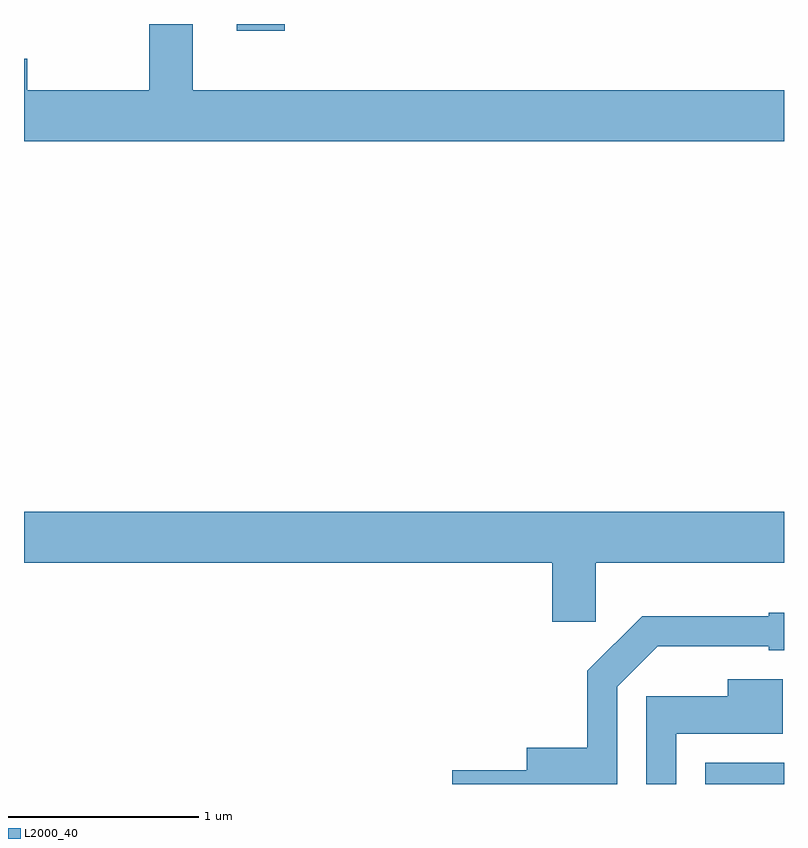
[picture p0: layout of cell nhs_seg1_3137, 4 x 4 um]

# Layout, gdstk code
import gdstk
lib = gdstk.Library(unit=1e-6, precision=1e-09)
def R(c, l, rs):  # rectangles x0, y0, x1, y1
    for r in rs: c.add(gdstk.rectangle(r[:2], r[2:], *l))
def P(c, l, *ps):  # polygons
    for p in ps: c.add(gdstk.Polygon(p, *l))
L2000_40 = (2000, 40)

nhs_seg1_3137 = lib.new_cell('nhs_seg1_3137')
R(nhs_seg1_3137, L2000_40, [(283.196,931.712,283.611,931.824), (280.731,935.676,280.984,935.712)])
P(nhs_seg1_3137, L2000_40, [(283.611,935.364),(280.499,935.364),(280.499,935.712),(280.271,935.712),(280.271,935.364),(279.629,935.364),(279.629,935.529),(279.611,935.529),(279.611,935.096),(283.611,935.096)],
  [(282.619,932.876),(283.611,932.876),(283.611,933.144),(279.611,933.144),(279.611,932.876),(282.391,932.876),(282.391,932.566),(282.619,932.566)],
  [(282.734,932.224),(282.947,932.436),(283.531,932.436),(283.531,932.416),(283.611,932.416),(283.611,932.614),(283.531,932.614),(283.531,932.594),(282.864,932.594),(282.576,932.307),(282.576,931.904),(282.256,931.904),(282.256,931.784),(281.866,931.784),(281.866,931.712),(282.734,931.712)],
  [(283.044,931.976),(283.604,931.976),(283.604,932.264),(283.316,932.264),(283.316,932.174),(282.886,932.174),(282.886,931.712),(283.044,931.712)])

lib.write_gds('nhs_seg1_3137.gds')
